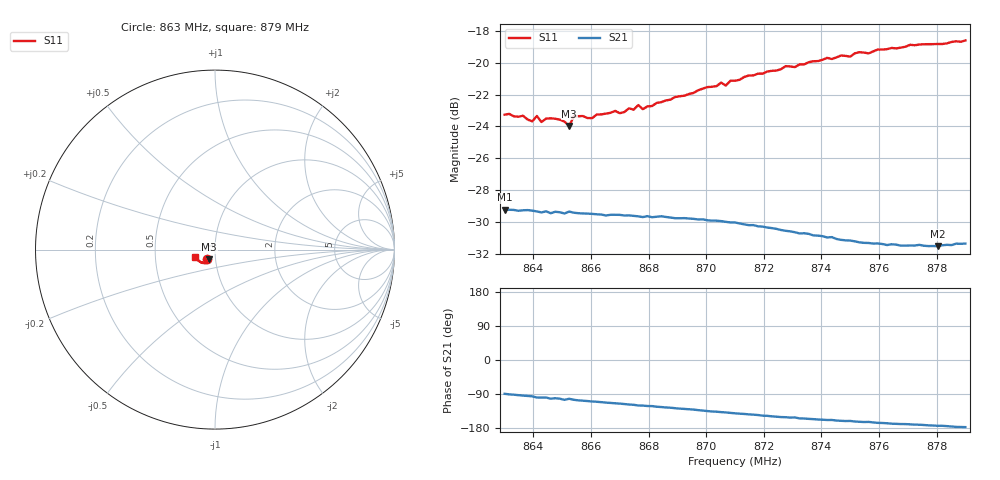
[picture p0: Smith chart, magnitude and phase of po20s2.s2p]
# HZ S RI R 50
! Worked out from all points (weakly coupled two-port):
!   101 points, 863 MHz to 879 MHz, reference 50 ohm
!   highest |S21| = -29.22 dB at 863 MHz (marker M1); lowest = -31.5 dB at 878.04 MHz (marker M2)
!   lowest |S11| = -24.0 dB at 865.24 MHz (marker M3), VSWR 1.14, Z = 46.6 - j5.1 ohm
!   |S11| at or under -10 dB: start of sweep to end of sweep
!   S12 and S22 are empty: the file has one direction only
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8.63e8  -0.0435 -0.0532  0.000502 -0.0346  0 0  0 0
8.6364e8  -0.0421 -0.0536  -0.00237 -0.0344  0 0  0 0
8.6396e8  -0.0393 -0.0523  -0.00356 -0.0342  0 0  0 0
8.6412e8  -0.0417 -0.0538  -0.00535 -0.0338  0 0  0 0
8.6428e8  -0.0359 -0.0544  -0.00534 -0.0335  0 0  0 0
8.6444e8  -0.0391 -0.0541  -0.00538 -0.0338  0 0  0 0
8.6476e8  -0.0365 -0.0559  -0.00641 -0.0335  0 0  0 0
8.6524e8  -0.0322 -0.0545  -0.00726 -0.0334  0 0  0 0
8.654e8  -0.039 -0.0554  -0.00873 -0.0327  0 0  0 0
8.6572e8  -0.0356 -0.058  -0.0101 -0.0321  0 0  0 0
8.6604e8  -0.0331 -0.0583  -0.0112 -0.0317  0 0  0 0
8.662e8  -0.0355 -0.0589  -0.0116 -0.0314  0 0  0 0
8.6748e8  -0.033 -0.0631  -0.0156 -0.0292  0 0  0 0
8.6764e8  -0.0356 -0.0644  -0.0165 -0.0286  0 0  0 0
8.678e8  -0.0343 -0.0627  -0.0165 -0.0283  0 0  0 0
8.6844e8  -0.0363 -0.0658  -0.0185 -0.0273  0 0  0 0
8.7052e8  -0.0461 -0.0733  -0.0235 -0.0215  0 0  0 0
8.71e8  -0.0482 -0.0734  -0.0244 -0.02  0 0  0 0
8.7372e8  -0.0682 -0.0745  -0.0263 -0.0117  0 0  0 0
8.7644e8  -0.0922 -0.0622  -0.0264 -0.00557  0 0  0 0
8.7804e8  -0.1036 -0.0487  -0.0264 -0.00293  0 0  0 0
8.79e8  -0.1106 -0.0393  -0.0271 -0.00135  0 0  0 0
